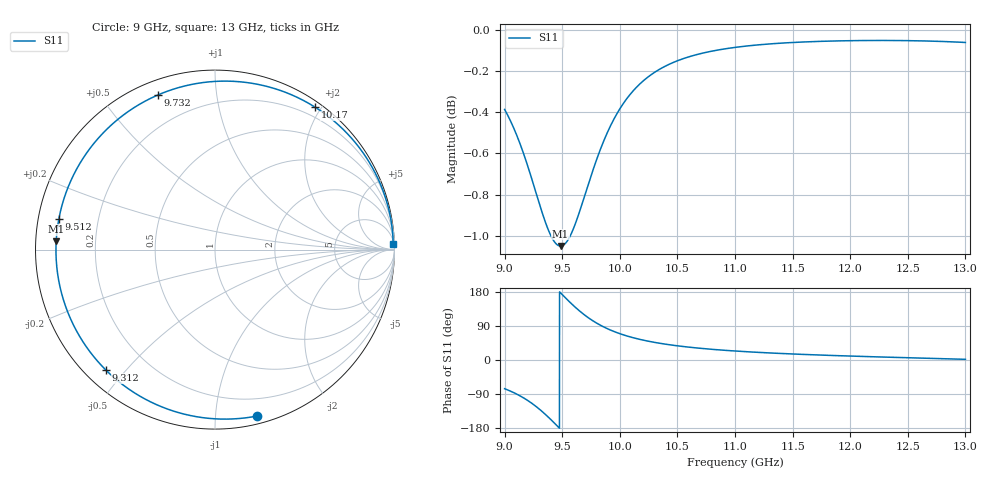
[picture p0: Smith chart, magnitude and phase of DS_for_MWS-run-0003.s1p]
! TOUCHSTONE file generated by CST DESIGN STUDIO
! Date and time: Tue Feb  4 18:30:33 2025
! Project name: C:\Work\MatlabApps\UnitCellOptimizationMatlab\CST\unitcell.cst
! Tree item: Tasks\Sweep1\SPara1\S-Parameters
! Header version: 2024
! Port assignment regex: !\s*Touchstone port\s*([0-9]+)\s*=\s*(CST MWS port|CST DES external port|CST DES block port)\s*(.+)\s* \(\"(.*)\"\)(\s*mode\s*([0-9]+))?.*
! Touchstone port assignment:
! Touchstone port 1 = CST DES external port 1 ("")
# GHz S MA R 50
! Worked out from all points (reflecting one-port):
!   4001 points, 9 GHz to 13 GHz, reference 50 ohm
!   lowest |S11| = -1.1 dB at 9.486 GHz (marker M1), VSWR 16.56, Z = 3.02 + j1.32 ohm
!   phase of S11 starts at -76 deg and turns -282 deg over the sweep
!   S11 on the Smith chart (normalised r, x): 9 GHz: 0.06, -1.28; 9.312 GHz: 0.06, -0.44; 9.512 GHz: 0.06, +0.10; 9.732 GHz: 0.06, +0.69; 10.17 GHz: 0.07, +1.92; 13 GHz: 14, +61
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9  0.9565 -75.8
9.079  0.9466 -86.1
9.178  0.9308 -102.5
9.247  0.9179 -116.6
9.312  0.9054 -132.3
9.358  0.8974 -144.7
9.406  0.8907 -158.6
9.447  0.8872 -171.0
9.486  0.8861 177.0
9.5  0.8862 172.6
9.512  0.8866 168.9
9.565  0.8906 153.0
9.625  0.899 136.1
9.678  0.9082 122.6
9.732  0.9182 110.4
9.785  0.9277 99.9
9.845  0.9375 89.6
9.921  0.948 78.7
10  0.9568 69.5
10.166  0.9698 55.0
10.318  0.9772 45.6
10.5  0.9829 37.4
10.722  0.9872 30.2
11  0.9903 23.7
11.5  0.993 15.9
12  0.994 10.4
12.5  0.994 5.9
13  0.993 1.8
